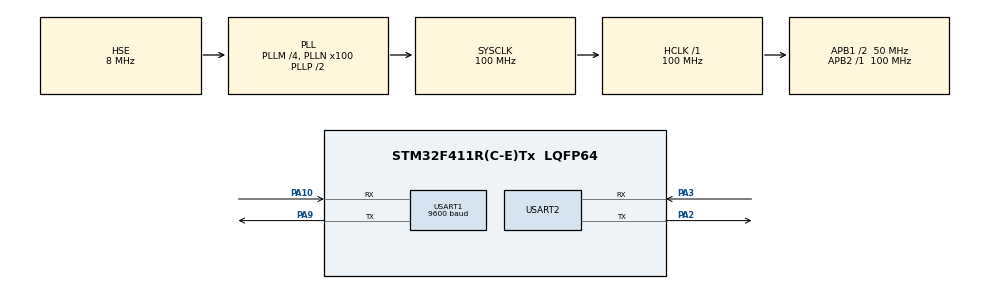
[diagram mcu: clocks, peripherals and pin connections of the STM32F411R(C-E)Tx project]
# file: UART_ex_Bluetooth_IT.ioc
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Mcu.Family=STM32F4
Mcu.Name=STM32F411R(C-E)Tx
Mcu.Package=LQFP64
NVIC.PriorityGroup=NVIC_PRIORITYGROUP_4
NVIC.USART1_IRQn=true\:0\:0\:false\:false\:true\:true\:true\:true
NVIC.USART2_IRQn=true\:0\:0\:false\:false\:true\:true\:true\:true
PA10.Mode=Asynchronous
PA10.Signal=USART1_RX
PA13.Mode=Serial_Wire
PA13.Signal=SYS_JTMS-SWDIO
PA14.Mode=Serial_Wire
PA14.Signal=SYS_JTCK-SWCLK
PA2.Mode=Asynchronous
PA2.Signal=USART2_TX
PA3.Mode=Asynchronous
PA3.Signal=USART2_RX
PA9.Mode=Asynchronous
PA9.Signal=USART1_TX
PH0\ -\ OSC_IN.Mode=HSE-External-Oscillator
PH0\ -\ OSC_IN.Signal=RCC_OSC_IN
PH1\ -\ OSC_OUT.Mode=HSE-External-Oscillator
PH1\ -\ OSC_OUT.Signal=RCC_OSC_OUT
ProjectManager.HeapSize=0x200
ProjectManager.StackSize=0x400
ProjectManager.TargetToolchain=STM32CubeIDE
RCC.48MHZClocksFreq_Value=50000000
RCC.AHBFreq_Value=100000000
RCC.APB1CLKDivider=RCC_HCLK_DIV2
RCC.APB1Freq_Value=50000000
RCC.APB1TimFreq_Value=100000000
RCC.APB2Freq_Value=100000000
RCC.APB2TimFreq_Value=100000000
RCC.CortexFreq_Value=100000000
RCC.HCLKFreq_Value=100000000
RCC.HSE_VALUE=8000000
RCC.HSI_VALUE=16000000
RCC.LSE_VALUE=32768
RCC.PLLM=4
RCC.PLLN=100
RCC.PLLSourceVirtual=RCC_PLLSOURCE_HSE
RCC.SYSCLKFreq_VALUE=100000000
RCC.SYSCLKSource=RCC_SYSCLKSOURCE_PLLCLK
RCC.VCOOutputFreq_Value=200000000
USART1.BaudRate=9600
USART1.VirtualMode=VM_ASYNC
USART2.VirtualMode=VM_ASYNC
board=custom

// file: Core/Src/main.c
/* USER CODE BEGIN Header */
/**
  ******************************************************************************
  * @file           : main.c
  * @brief          : Main program body
  ******************************************************************************
  * @attention
  *
  * Copyright (c) 2023 STMicroelectronics.
  * All rights reserved.
  *
  * This software is licensed under terms that can be found in the LICENSE file
  * in the root directory of this software component.
  * If no LICENSE file comes with this software, it is provided AS-IS.
  *
  ******************************************************************************
  */
/* USER CODE END Header */
#include "main.h"
#include "usart.h"
#include "gpio.h"

/* USER CODE BEGIN Includes */
#include <string.h>
/* USER CODE END Includes */

/* USER CODE BEGIN PM */
#define BUFFER_SIZE 1
/* USER CODE END PM */

/* USER CODE BEGIN PV */
uint8_t UART1_rxData[BUFFER_SIZE];
uint8_t UART1_txData[BUFFER_SIZE];
uint8_t UART2_rxData[BUFFER_SIZE];
uint8_t UART2_txData[BUFFER_SIZE];
/* USER CODE END PV */

void SystemClock_Config(void);
/* USER CODE BEGIN PFP */
void HAL_UART_RxCpltCallback(UART_HandleTypeDef *);
/* USER CODE END PFP */

int main(void)
{

  /* MCU Configuration--------------------------------------------------------*/

  /* Reset of all peripherals, Initializes the Flash interface and the Systick. */
  HAL_Init();

  /* Configure the system clock */
  SystemClock_Config();

  /* Initialize all configured peripherals */
  MX_GPIO_Init();
  MX_USART2_UART_Init();
  MX_USART1_UART_Init();
  /* USER CODE BEGIN 2 */
  HAL_UART_Receive_IT(&huart1, UART1_rxData, sizeof(UART1_rxData));
  HAL_UART_Receive_IT(&huart2, UART2_rxData, sizeof(UART2_rxData));
  /* USER CODE END 2 */

  /* Infinite loop */
  while (1)
  {

  }
}

void SystemClock_Config(void)
{
  RCC_OscInitTypeDef RCC_OscInitStruct = {0};
  RCC_ClkInitTypeDef RCC_ClkInitStruct = {0};

  /** Configure the main internal regulator output voltage
  */
  __HAL_RCC_PWR_CLK_ENABLE();
  __HAL_PWR_VOLTAGESCALING_CONFIG(PWR_REGULATOR_VOLTAGE_SCALE1);

  /** Initializes the RCC Oscillators according to the specified parameters
  * in the RCC_OscInitTypeDef structure.
  */
  RCC_OscInitStruct.OscillatorType = RCC_OSCILLATORTYPE_HSE;
  RCC_OscInitStruct.HSEState = RCC_HSE_ON;
  RCC_OscInitStruct.PLL.PLLState = RCC_PLL_ON;
  RCC_OscInitStruct.PLL.PLLSource = RCC_PLLSOURCE_HSE;
  RCC_OscInitStruct.PLL.PLLM = 4;
  RCC_OscInitStruct.PLL.PLLN = 100;
  RCC_OscInitStruct.PLL.PLLP = RCC_PLLP_DIV2;
  RCC_OscInitStruct.PLL.PLLQ = 4;
  if (HAL_RCC_OscConfig(&RCC_OscInitStruct) != HAL_OK)
  {
    Error_Handler();
  }

  /** Initializes the CPU, AHB and APB buses clocks
  */
  RCC_ClkInitStruct.ClockType = RCC_CLOCKTYPE_HCLK|RCC_CLOCKTYPE_SYSCLK
                              |RCC_CLOCKTYPE_PCLK1|RCC_CLOCKTYPE_PCLK2;
  RCC_ClkInitStruct.SYSCLKSource = RCC_SYSCLKSOURCE_PLLCLK;
  RCC_ClkInitStruct.AHBCLKDivider = RCC_SYSCLK_DIV1;
  RCC_ClkInitStruct.APB1CLKDivider = RCC_HCLK_DIV2;
  RCC_ClkInitStruct.APB2CLKDivider = RCC_HCLK_DIV1;

  if (HAL_RCC_ClockConfig(&RCC_ClkInitStruct, FLASH_LATENCY_3) != HAL_OK)
  {
    Error_Handler();
  }
}

/* USER CODE BEGIN 4 */
void HAL_UART_RxCpltCallback(UART_HandleTypeDef *huart) {
    if (huart == &huart2) {
        strcpy((char *)UART1_txData, (char *)UART2_rxData);
        HAL_UART_Transmit_IT(&huart1, UART1_txData, sizeof(UART1_txData));
        HAL_UART_Receive_IT(huart, UART2_rxData, sizeof(UART2_rxData));
    }
    else if (huart == &huart1) {
        strcpy((char *)UART2_txData, (char *)UART1_rxData);
        HAL_UART_Transmit_IT(&huart2, UART2_txData, sizeof(UART2_txData));
        HAL_UART_Receive_IT(huart, UART1_rxData, sizeof(UART1_rxData));
    }
}
/* USER CODE END 4 */

void Error_Handler(void)
{
  __disable_irq();
  while (1)
  {
  }
}
